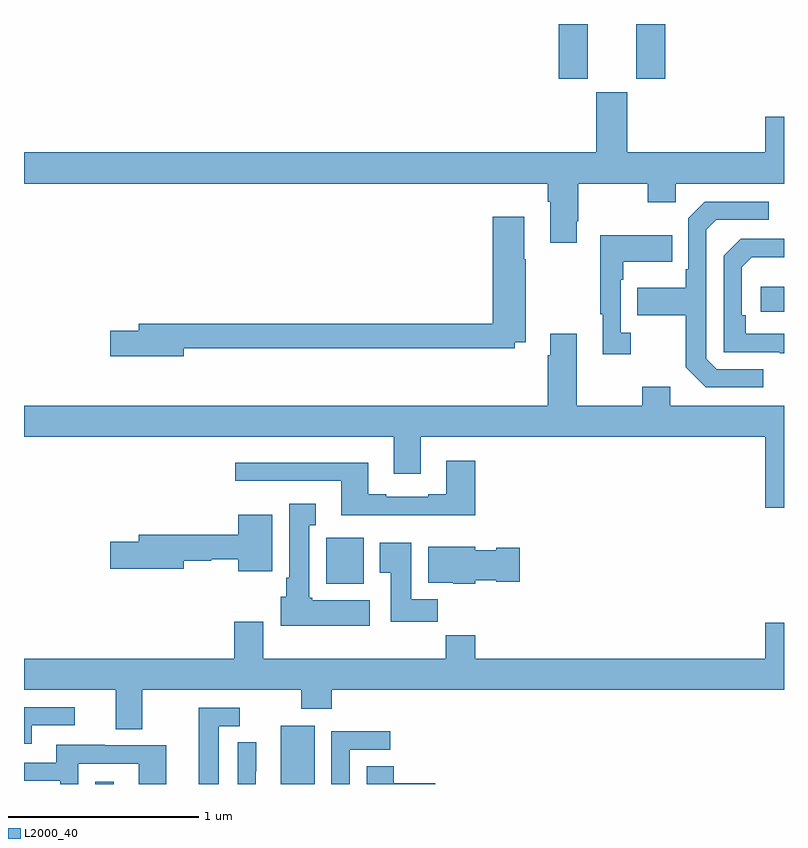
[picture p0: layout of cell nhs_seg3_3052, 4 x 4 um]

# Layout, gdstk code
import gdstk
lib = gdstk.Library(unit=1e-6, precision=1e-09)
def R(c, l, rs):  # rectangles x0, y0, x1, y1
    for r in rs: c.add(gdstk.rectangle(r[:2], r[2:], *l))
def P(c, l, *ps):  # polygons
    for p in ps: c.add(gdstk.Polygon(p, *l))
L2000_40 = (2000, 40)

nhs_seg3_3052 = lib.new_cell('nhs_seg3_3052')
R(nhs_seg3_3052, L2000_40, [(269.376,720.4,269.473,720.412), (270.35,720.4,270.529,720.706), (270.59,721.454,270.787,721.696), (272.877,722.886,273,723.016), (271.814,724.113,271.966,724.4), (272.222,724.113,272.375,724.4)])
P(nhs_seg3_3052, L2000_40, [(271.909,723.361),(271.917,723.361),(271.917,723.56),(272.284,723.56),(272.284,723.461),(272.43,723.461),(272.43,723.56),(273,723.56),(273,723.913),(272.9,723.913),(272.9,723.724),(272.176,723.724),(272.176,724.041),(272.012,724.041),(272.012,723.724),(269,723.724),(269,723.56),(271.757,723.56),(271.757,723.464),(271.769,723.464),(271.769,723.249),(271.909,723.249)],
  [(272.89,722.583),(272.646,722.583),(272.592,722.637),(272.592,723.318),(272.643,723.369),(272.92,723.369),(272.92,723.465),(272.583,723.465),(272.496,723.378),(272.496,723.109),(272.484,723.109),(272.484,723.013),(272.227,723.013),(272.227,722.866),(272.484,722.866),(272.484,722.593),(272.589,722.487),(272.89,722.487)],
  [(269.842,722.694),(271.584,722.694),(271.584,722.726),(271.641,722.726),(271.641,723.161),(271.633,723.161),(271.633,723.385),(271.466,723.385),(271.466,722.822),(269.603,722.822),(269.603,722.786),(269.454,722.786),(269.454,722.651),(269.842,722.651)],
  [(272.194,722.774),(272.142,722.774),(272.142,723.053),(272.155,723.053),(272.155,723.149),(272.411,723.149),(272.411,723.289),(272.034,723.289),(272.034,722.873),(272.045,722.873),(272.045,722.661),(272.194,722.661)],
  [(273,722.769),(272.798,722.769),(272.798,722.866),(272.778,722.866),(272.778,723.12),(272.831,723.173),(273,723.173),(273,723.27),(272.772,723.27),(272.682,723.18),(272.682,722.673),(272.977,722.673),(272.977,722.668),(273,722.668)],
  [(269,722.228),(270.947,722.228),(270.947,722.034),(271.087,722.034),(271.087,722.228),(272.9,722.228),(272.9,721.854),(273,721.854),(273,722.392),(272.401,722.392),(272.401,722.491),(272.254,722.491),(272.254,722.392),(271.909,722.392),(271.909,722.77),(271.769,722.77),(271.769,722.657),(271.757,722.657),(271.757,722.392),(269,722.392)],
  [(271.376,722.101),(271.223,722.101),(271.223,721.924),(271.127,721.924),(271.127,721.911),(270.907,721.911),(270.907,721.924),(270.811,721.924),(270.811,722.092),(270.111,722.092),(270.111,721.995),(270.671,721.995),(270.671,721.814),(271.376,721.814)],
  [(270.82,721.366),(270.516,721.366),(270.516,721.38),(270.502,721.38),(270.502,721.763),(270.535,721.763),(270.535,721.876),(270.395,721.876),(270.395,721.486),(270.38,721.486),(270.38,721.386),(270.35,721.386),(270.35,721.232),(270.82,721.232)],
  [(270.307,721.816),(270.128,721.816),(270.128,721.712),(269.603,721.712),(269.603,721.676),(269.454,721.676),(269.454,721.534),(269.842,721.534),(269.842,721.576),(269.985,721.576),(269.985,721.584),(270.128,721.584),(270.128,721.52),(270.307,721.52)],
  [(271.178,721.372),(271.039,721.372),(271.039,721.669),(270.872,721.669),(270.872,721.513),(270.929,721.513),(270.929,721.254),(271.178,721.254)],
  [(271.374,721.472),(271.485,721.472),(271.485,721.465),(271.609,721.465),(271.609,721.643),(271.485,721.643),(271.485,721.63),(271.374,721.63),(271.374,721.648),(271.127,721.648),(271.127,721.46),(271.26,721.46),(271.26,721.454),(271.374,721.454)],
  [(269.623,720.896),(270.46,720.896),(270.46,720.797),(270.62,720.797),(270.62,720.896),(273,720.896),(273,721.249),(272.9,721.249),(272.9,721.06),(271.376,721.06),(271.376,721.184),(271.219,721.184),(271.219,721.06),(270.259,721.06),(270.259,721.255),(270.107,721.255),(270.107,721.06),(269,721.06),(269,720.896),(269.483,720.896),(269.483,720.688),(269.623,720.688)],
  [(269.041,720.708),(269.266,720.708),(269.266,720.804),(269,720.804),(269,720.612),(269.041,720.612)],
  [(270.025,720.705),(270.136,720.705),(270.136,720.801),(269.921,720.801),(269.921,720.4),(270.025,720.4)],
  [(270.714,720.579),(270.928,720.579),(270.928,720.678),(270.618,720.678),(270.618,720.4),(270.714,720.4)],
  [(270.221,720.466),(270.222,720.466),(270.222,720.62),(270.126,720.62),(270.126,720.4),(270.221,720.4)],
  [(269.286,720.507),(269.604,720.507),(269.604,720.4),(269.749,720.4),(269.749,720.603),(269.425,720.603),(269.425,720.607),(269.171,720.607),(269.171,720.513),(269,720.513),(269,720.417),(269.19,720.417),(269.19,720.4),(269.286,720.4)],
  [(271.165,720.404),(270.947,720.404),(270.947,720.494),(270.803,720.494),(270.803,720.4),(271.165,720.4)])

lib.write_gds('nhs_seg3_3052.gds')
